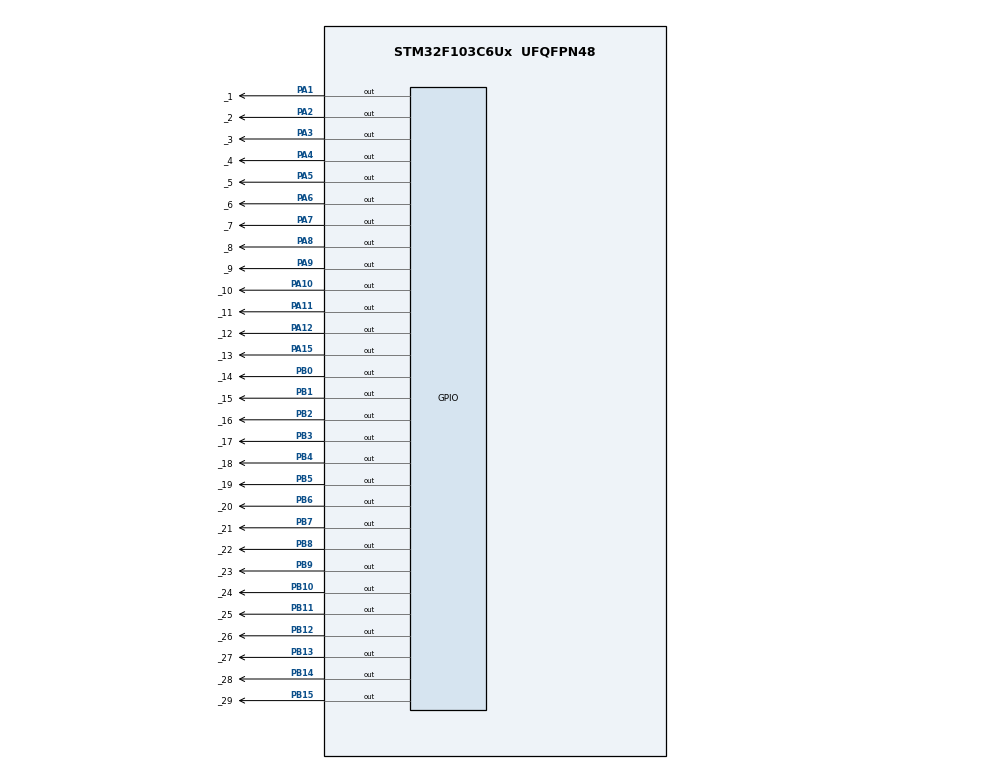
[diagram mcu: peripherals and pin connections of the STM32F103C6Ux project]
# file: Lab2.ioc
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Mcu.Family=STM32F1
Mcu.Name=STM32F103C6Ux
Mcu.Package=UFQFPN48
NVIC.PriorityGroup=NVIC_PRIORITYGROUP_4
NVIC.TIM2_IRQn=true\:0\:0\:false\:false\:true\:true\:true\:true
PA1.GPIO_Label=_1
PA1.Signal=GPIO_Output
PA10.GPIO_Label=_10
PA10.Signal=GPIO_Output
PA11.GPIO_Label=_11
PA11.Signal=GPIO_Output
PA12.GPIO_Label=_12
PA12.Signal=GPIO_Output
PA13.Mode=Serial_Wire
PA13.Signal=SYS_JTMS-SWDIO
PA14.Mode=Serial_Wire
PA14.Signal=SYS_JTCK-SWCLK
PA15.GPIO_Label=_13
PA15.Signal=GPIO_Output
PA2.GPIO_Label=_2
PA2.Signal=GPIO_Output
PA3.GPIO_Label=_3
PA3.Signal=GPIO_Output
PA4.GPIO_Label=_4
PA4.Signal=GPIO_Output
PA5.GPIO_Label=_5
PA5.Signal=GPIO_Output
PA6.GPIO_Label=_6
PA6.Signal=GPIO_Output
PA7.GPIO_Label=_7
PA7.Signal=GPIO_Output
PA8.GPIO_Label=_8
PA8.Signal=GPIO_Output
PA9.GPIO_Label=_9
PA9.Signal=GPIO_Output
PB0.GPIO_Label=_14
PB0.Signal=GPIO_Output
PB1.GPIO_Label=_15
PB1.Signal=GPIO_Output
PB10.GPIO_Label=_24
PB10.Signal=GPIO_Output
PB11.GPIO_Label=_25
PB11.Signal=GPIO_Output
PB12.GPIO_Label=_26
PB12.Signal=GPIO_Output
PB13.GPIO_Label=_27
PB13.Signal=GPIO_Output
PB14.GPIO_Label=_28
PB14.Signal=GPIO_Output
PB15.GPIO_Label=_29
PB15.Signal=GPIO_Output
PB2.GPIO_Label=_16
PB2.Signal=GPIO_Output
PB3.GPIO_Label=_17
PB3.Signal=GPIO_Output
PB4.GPIO_Label=_18
PB4.Signal=GPIO_Output
PB5.GPIO_Label=_19
PB5.Signal=GPIO_Output
PB6.GPIO_Label=_20
PB6.Signal=GPIO_Output
PB7.GPIO_Label=_21
PB7.Signal=GPIO_Output
PB8.GPIO_Label=_22
PB8.Signal=GPIO_Output
PB9.GPIO_Label=_23
PB9.Signal=GPIO_Output
ProjectManager.HeapSize=0x200
ProjectManager.StackSize=0x400
ProjectManager.TargetToolchain=STM32CubeIDE
RCC.APB1Freq_Value=8000000
RCC.APB2Freq_Value=8000000
TIM2.Period=9
TIM2.Prescaler=7999
VP_TIM2_VS_ClockSourceINT.Mode=Internal
board=custom

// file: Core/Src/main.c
/* USER CODE BEGIN Header */
/**
  ******************************************************************************
  * @file           : main.c
  * @brief          : Main program body
  ******************************************************************************
  * @attention
  *
  * Copyright (c) 2025 STMicroelectronics.
  * All rights reserved.
  *
  * This software is licensed under terms that can be found in the LICENSE file
  * in the root directory of this software component.
  * If no LICENSE file comes with this software, it is provided AS-IS.
  *
  ******************************************************************************
  */
/* USER CODE END Header */
#include "main.h"

/* USER CODE BEGIN Includes */
#include "stm32f103c6.h"
#include "soft_timer.h"
#include <stdbool.h>
/* USER CODE END Includes */

TIM_HandleTypeDef htim2;

/* USER CODE BEGIN PV */
const int MAX_LED = 4;
int index_led = 0;
int led_buffer[4] = {1, 2, 3, 4};

// Clock variables
int hour = 23;
int minute = 58;
int second = 58;

// LED Matrix variables (LOW ACTIVE for ROWs)
const int MAX_LED_MATRIX = 8;
int index_led_matrix = 0;
unsigned char matrix_buffer[8] = {
  //ROWx
  //x=
  //76543210
  //A
  0b00000000,
  0b11111100,
  0b00010010,
  0b00010001,
  0b00010001,
  0b00010010,
  0b11111100,
  0b00000000
};
/* USER CODE END PV */

void SystemClock_Config(void);
static void MX_GPIO_Init(void);
static void MX_TIM2_Init(void);
/* USER CODE BEGIN PFP */
void update7SEG(int index);
void updateClockBuffer();
void updateLEDMatrix(int row);
void setRowData(unsigned char row_data);
void setColumnEnable(int column, int enable);
void shiftMatrixBufferLeft();
/* USER CODE END PFP */

/* USER CODE BEGIN 0 */
void update7SEG(int index){
    togglePin(PA6, 1);
    togglePin(PA7, 1);
    togglePin(PA8, 1);
    togglePin(PA9, 1);

    int digitToShow = led_buffer[index];

    toggleSeg(segMent_1, segMapAnode, digitToShow);

    switch(index) {
        case 0:
            togglePin(PA6, 0);
            break;
        case 1:
            togglePin(PA7, 0);
            break;
        case 2:
            togglePin(PA8, 0);
            break;
        case 3:
            togglePin(PA9, 0);
            break;
        default:
            togglePin(PA6, 1);
            togglePin(PA7, 1);
            togglePin(PA8, 1);
            togglePin(PA9, 1);
            break;
    }
}

void updateClockBuffer() {
    // Extract individual digits from hour and minute
    led_buffer[0] = hour / 10;        // Hours tens digit
    led_buffer[1] = hour % 10;        // Hours units digit
    led_buffer[2] = minute / 10;      // Minutes tens digit
    led_buffer[3] = minute % 10;      // Minutes units digit

    // Handle time increment (increment every second)
    second++;
    if (second >= 60) {
        second = 0;
        minute++;
        if (minute >= 60) {
            minute = 0;
            hour++;
            if (hour >= 24) {
                hour = 0;
            }
        }
    }
}

// LED Matrix Functions
void setRowData(unsigned char row_data) {
    // Set ROW0-ROW7 - LOW ACTIVE
    togglePin(PB8, !((row_data >> 0) & 0x01));      // ROW0
    togglePin(PB9, !((row_data >> 1) & 0x01));      // ROW1
    togglePin(PB10, !((row_data >> 2) & 0x01));     // ROW2
    togglePin(PB11, !((row_data >> 3) & 0x01));     // ROW3
    togglePin(PB12, !((row_data >> 4) & 0x01));     // ROW4
    togglePin(PB13, !((row_data >> 5) & 0x01));     // ROW5
    togglePin(PB14, !((row_data >> 6) & 0x01));     // ROW6
    togglePin(PB15, !((row_data >> 7) & 0x01));     // ROW7
}

void setColumnEnable(int column, int enable) {
    // Set ENM0-ENM7 - HIGH ACTIVE
    switch(column) {
        case 0: togglePin(PA1, !enable); break;     // ENM0
        case 1: togglePin(PA2, !enable); break;     // ENM1
        case 2: togglePin(PA3, !enable); break;     // ENM2
        case 3: togglePin(PA4, !enable); break;     // ENM3
        case 4: togglePin(PA10, !enable); break;    // ENM4
        case 5: togglePin(PA11, !enable); break;    // ENM5
        case 6: togglePin(PA12, !enable); break;    // ENM6
        case 7: togglePin(PB7, !enable); break;     // ENM7
    }
}

void updateLEDMatrix(int index) {
    // Turn off all columns first
    for(int col = 0; col < 8; col++) {
        setColumnEnable(col, 0);
    }

    // Set row data and enable the current column
    if(index < MAX_LED_MATRIX) {
        setRowData(matrix_buffer[index]);
        setColumnEnable(index, 1);
    }
}

void shiftMatrixBufferLeft() {
    unsigned char temp = matrix_buffer[0];

    for (int i = 0; i <= MAX_LED_MATRIX - 2; i++) {
        matrix_buffer[i] = matrix_buffer[i + 1];
    }

    matrix_buffer[MAX_LED_MATRIX - 1] = temp;
}
/* USER CODE END 0 */

int main(void)
{

  /* MCU Configuration--------------------------------------------------------*/

  /* Reset of all peripherals, Initializes the Flash interface and the Systick. */
  HAL_Init();

  /* Configure the system clock */
  SystemClock_Config();

  /* Initialize all configured peripherals */
  MX_GPIO_Init();
  MX_TIM2_Init();
  /* USER CODE BEGIN 2 */
  HAL_TIM_Base_Start_IT(&htim2);
  /* USER CODE END 2 */

  /* Infinite loop */
  /* USER CODE BEGIN WHILE */
  //LED_SYS SETUP
  int durLED_SYS = 100;
  setTimerLED_SYS(durLED_SYS);
  //LED_SYS SETUP

  //DIGITAL CLOCK SETUP (Restore 7-segment functionality)
  int multiplexTimer = 5;  // 250ms per display (25 * 10ms = 250ms) (speed up 5x for better visual)
  int colonTimer = 100;     // 1 second for DOT blinking (100 * 10ms = 1000ms)
  int clockTimer = 10;     // 1 second for clock update (100 * 10ms = 1000ms) (speed up 10x for demo)
  int currentDisplay = 0;

  // Initialize clock buffer with current time
  updateClockBuffer();
  setTimer1(multiplexTimer);  // Restore 7-segment multiplexing
  setTimer2(colonTimer);
  setTimer3(clockTimer);
  //DIGITAL CLOCK SETUP

  //LED MATRIX SETUP
  int matrixTimer = 1;      // 10ms for matrix display (1 * 10ms = 10ms)
  int animationTimer = 10; // 100ms for animation shift (10 * 10ms = 100ms)
  setTimer4(matrixTimer);
  setTimer5(animationTimer);
  //LED MATRIX SETUP
  while (1)
  {
    //LED_SYS OPERATION
    blinkLED_SYS_TIM(durLED_SYS);
    //LED_SYS OPERATION

    //DIGITAL CLOCK OPERATION
    if (timer1_flag == 1)
    {
      setTimer1(multiplexTimer);

      update7SEG(currentDisplay);

      currentDisplay = (currentDisplay + 1) % 4;
    }

    if (timer2_flag == 1)
    {
      setTimer2(colonTimer);
      blinkPin(PA5);
    }

    if (timer3_flag == 1)
    {
      setTimer3(clockTimer);
      updateClockBuffer();
    }
    //DIGITAL CLOCK OPERATION

    //LED MATRIX OPERATION
    if (timer4_flag == 1)
    {
      setTimer4(matrixTimer);
      updateLEDMatrix(index_led_matrix);
      index_led_matrix = (index_led_matrix + 1) % MAX_LED_MATRIX;
    }

    //LED MATRIX ANIMATION
    if (timer5_flag == 1)
    {
      setTimer5(animationTimer);
      shiftMatrixBufferLeft();
    }
    //LED MATRIX ANIMATION
    /* USER CODE END WHILE */

  }
}

void SystemClock_Config(void)
{
  RCC_OscInitTypeDef RCC_OscInitStruct = {0};
  RCC_ClkInitTypeDef RCC_ClkInitStruct = {0};

  /** Initializes the RCC Oscillators according to the specified parameters
  * in the RCC_OscInitTypeDef structure.
  */
  RCC_OscInitStruct.OscillatorType = RCC_OSCILLATORTYPE_HSI;
  RCC_OscInitStruct.HSIState = RCC_HSI_ON;
  RCC_OscInitStruct.HSICalibrationValue = RCC_HSICALIBRATION_DEFAULT;
  RCC_OscInitStruct.PLL.PLLState = RCC_PLL_NONE;
  if (HAL_RCC_OscConfig(&RCC_OscInitStruct) != HAL_OK)
  {
    Error_Handler();
  }

  /** Initializes the CPU, AHB and APB buses clocks
  */
  RCC_ClkInitStruct.ClockType = RCC_CLOCKTYPE_HCLK|RCC_CLOCKTYPE_SYSCLK
                              |RCC_CLOCKTYPE_PCLK1|RCC_CLOCKTYPE_PCLK2;
  RCC_ClkInitStruct.SYSCLKSource = RCC_SYSCLKSOURCE_HSI;
  RCC_ClkInitStruct.AHBCLKDivider = RCC_SYSCLK_DIV1;
  RCC_ClkInitStruct.APB1CLKDivider = RCC_HCLK_DIV1;
  RCC_ClkInitStruct.APB2CLKDivider = RCC_HCLK_DIV1;

  if (HAL_RCC_ClockConfig(&RCC_ClkInitStruct, FLASH_LATENCY_0) != HAL_OK)
  {
    Error_Handler();
  }
}

static void MX_TIM2_Init(void)
{

  TIM_ClockConfigTypeDef sClockSourceConfig = {0};
  TIM_MasterConfigTypeDef sMasterConfig = {0};

  htim2.Instance = TIM2;
  htim2.Init.Prescaler = 7999;
  htim2.Init.CounterMode = TIM_COUNTERMODE_UP;
  htim2.Init.Period = 9;
  htim2.Init.ClockDivision = TIM_CLOCKDIVISION_DIV1;
  htim2.Init.AutoReloadPreload = TIM_AUTORELOAD_PRELOAD_DISABLE;
  if (HAL_TIM_Base_Init(&htim2) != HAL_OK)
  {
    Error_Handler();
  }
  sClockSourceConfig.ClockSource = TIM_CLOCKSOURCE_INTERNAL;
  if (HAL_TIM_ConfigClockSource(&htim2, &sClockSourceConfig) != HAL_OK)
  {
    Error_Handler();
  }
  sMasterConfig.MasterOutputTrigger = TIM_TRGO_RESET;
  sMasterConfig.MasterSlaveMode = TIM_MASTERSLAVEMODE_DISABLE;
  if (HAL_TIMEx_MasterConfigSynchronization(&htim2, &sMasterConfig) != HAL_OK)
  {
    Error_Handler();
  }

}

static void MX_GPIO_Init(void)
{
  GPIO_InitTypeDef GPIO_InitStruct = {0};

  /* GPIO Ports Clock Enable */
  __HAL_RCC_GPIOA_CLK_ENABLE();
  __HAL_RCC_GPIOB_CLK_ENABLE();

  /*Configure GPIO pin Output Level */
  HAL_GPIO_WritePin(GPIOA, _1_Pin|_2_Pin|_3_Pin|_4_Pin
                          |_5_Pin|_6_Pin|_7_Pin|_8_Pin
                          |_9_Pin|_10_Pin|_11_Pin|_12_Pin
                          |_13_Pin, GPIO_PIN_RESET);

  /*Configure GPIO pin Output Level */
  HAL_GPIO_WritePin(GPIOB, _14_Pin|_15_Pin|_16_Pin|_24_Pin
                          |_25_Pin|_26_Pin|_27_Pin|_28_Pin
                          |_29_Pin|_17_Pin|_18_Pin|_19_Pin
                          |_20_Pin|_21_Pin|_22_Pin|_23_Pin, GPIO_PIN_RESET);

  /*Configure GPIO pins : _1_Pin _2_Pin _3_Pin _4_Pin
                           _5_Pin _6_Pin _7_Pin _8_Pin
                           _9_Pin _10_Pin _11_Pin _12_Pin
                           _13_Pin */
  GPIO_InitStruct.Pin = _1_Pin|_2_Pin|_3_Pin|_4_Pin
                          |_5_Pin|_6_Pin|_7_Pin|_8_Pin
                          |_9_Pin|_10_Pin|_11_Pin|_12_Pin
                          |_13_Pin;
  GPIO_InitStruct.Mode = GPIO_MODE_OUTPUT_PP;
  GPIO_InitStruct.Pull = GPIO_NOPULL;
  GPIO_InitStruct.Speed = GPIO_SPEED_FREQ_LOW;
  HAL_GPIO_Init(GPIOA, &GPIO_InitStruct);

  /*Configure GPIO pins : _14_Pin _15_Pin _16_Pin _24_Pin
                           _25_Pin _26_Pin _27_Pin _28_Pin
                           _29_Pin _17_Pin _18_Pin _19_Pin
                           _20_Pin _21_Pin _22_Pin _23_Pin */
  GPIO_InitStruct.Pin = _14_Pin|_15_Pin|_16_Pin|_24_Pin
                          |_25_Pin|_26_Pin|_27_Pin|_28_Pin
                          |_29_Pin|_17_Pin|_18_Pin|_19_Pin
                          |_20_Pin|_21_Pin|_22_Pin|_23_Pin;
  GPIO_InitStruct.Mode = GPIO_MODE_OUTPUT_PP;
  GPIO_InitStruct.Pull = GPIO_NOPULL;
  GPIO_InitStruct.Speed = GPIO_SPEED_FREQ_LOW;
  HAL_GPIO_Init(GPIOB, &GPIO_InitStruct);

}

/* USER CODE BEGIN 4 */
void HAL_TIM_PeriodElapsedCallback(TIM_HandleTypeDef *htim) {
  timerRun();
}
/* USER CODE END 4 */

void Error_Handler(void)
{
  __disable_irq();
  while (1)
  {
  }
}
